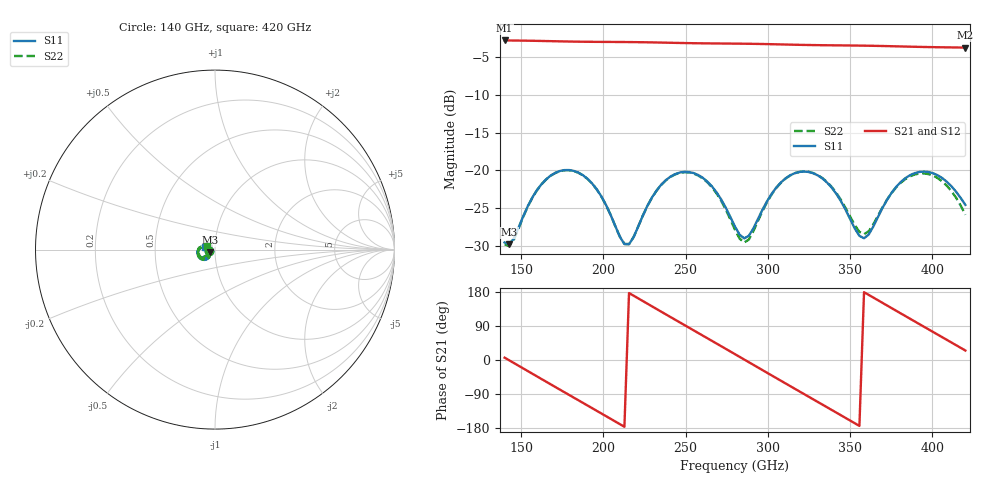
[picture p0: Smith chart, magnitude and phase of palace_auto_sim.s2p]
#  GHZ S DB R 50
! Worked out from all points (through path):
!   101 points, 140 GHz to 420 GHz, reference 50 ohm
!   highest |S21| = -2.78 dB at 140 GHz (marker M1); lowest = -3.7 dB at 420 GHz (marker M2)
!   group delay of S21, straight-line fit = 6.96 ps
!   lowest |S11| = -29.9 dB at 142.8 GHz (marker M3), VSWR 1.07, Z = 47.2 - j1.4 ohm
!   |S11| at or under -10 dB: start of sweep to end of sweep
!   |S22| runs from -30.1 to -20.0 dB; largest |S21 - S12| = 8.1e-14
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140  -29.59 -167.0  -2.78 6.2  -2.78 6.2  -29.83 -167.6
142.8  -29.86 -152.6  -2.79 -0.8  -2.79 -0.8  -30.09 -152.8
154  -24.82 -127.0  -2.81 -29.0  -2.81 -29.0  -24.88 -126.9
168  -20.72 -143.3  -2.87 -64.2  -2.87 -64.2  -20.74 -143.6
176.4  -19.99 -158.0  -2.91 -85.2  -2.91 -85.2  -20.01 -158.4
187.6  -20.67 -177.7  -2.95 -113.1  -2.95 -113.1  -20.69 -178.2
201.6  -24.61 165.9  -2.98 -148.1  -2.98 -148.1  -24.62 165.3
212.8  -29.81 -171.5  -2.99 -176.2  -2.99 -176.2  -29.79 -172.3
224  -26.03 -134.3  -3.02 155.6  -3.02 155.6  -26.04 -135.4
235.2  -21.92 -141.4  -3.06 127.4  -3.06 127.4  -21.95 -142.6
246.4  -20.31 -158.8  -3.12 99.4  -3.12 99.4  -20.36 -160.1
257.6  -20.63 -177.3  -3.16 71.4  -3.16 71.4  -20.71 -178.9
280  -27.49 172.1  -3.20 15.4  -3.20 15.4  -27.91 170.0
288.4  -28.71 -156.1  -3.22 -5.8  -3.22 -5.8  -29.20 -155.3
308  -21.60 -147.1  -3.31 -55.0  -3.31 -55.0  -21.65 -146.6
327.6  -20.41 -177.3  -3.40 -103.9  -3.40 -103.9  -20.39 -177.3
344.4  -24.13 163.4  -3.44 -145.9  -3.44 -145.9  -23.95 163.5
358.4  -29.04 -167.6  -3.47 179.0  -3.47 179.0  -28.50 -170.6
375.2  -22.98 -142.9  -3.55 136.8  -3.55 136.8  -23.02 -147.7
386.4  -20.66 -156.3  -3.61 108.8  -3.61 108.8  -20.82 -161.1
397.6  -20.25 -173.0  -3.66 80.9  -3.66 80.9  -20.52 -178.6
420  -24.62 167.6  -3.73 25.0  -3.73 25.0  -25.92 158.9
